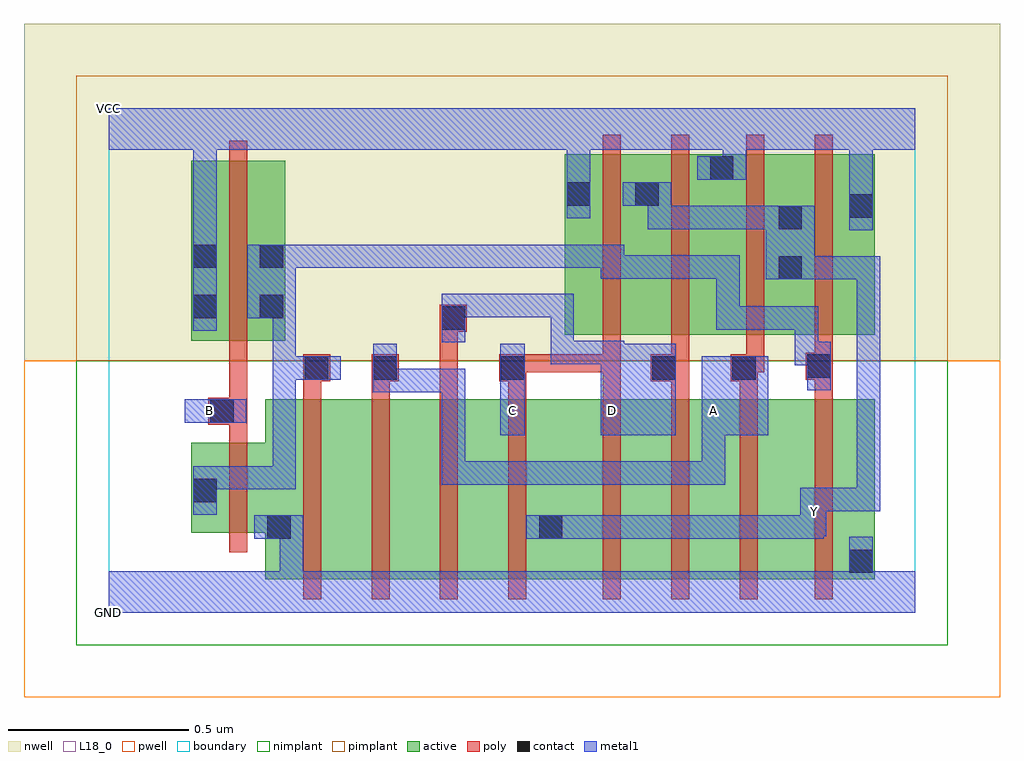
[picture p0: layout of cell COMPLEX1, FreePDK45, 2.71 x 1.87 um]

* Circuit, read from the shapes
.subckt COMPLEX1 A B C D GND VCC Y
M1 GND B n1 VSUBS nfet w=0.25u l=0.05u
M2 n2 n1 GND VSUBS nfet w=0.5u l=0.05u
M3 n3 A n2 VSUBS nfet w=0.5u l=0.05u
M4 n4 D n3 VSUBS nfet w=0.5u l=0.05u
M5 Y C n4 VSUBS nfet w=0.5u l=0.05u
M6 n5 C Y VSUBS nfet w=0.5u l=0.05u
M7 n6 D n5 VSUBS nfet w=0.5u l=0.05u
M8 n7 A n6 VSUBS nfet w=0.5u l=0.05u
M9 GND n1 n7 VSUBS nfet w=0.5u l=0.05u
M10 n1 B VCC n8 pfet w=0.5u l=0.05u
M11 Y C VCC n8 pfet w=0.5u l=0.05u
M12 VCC D Y n8 pfet w=0.5u l=0.05u
M13 Y A VCC n8 pfet w=0.5u l=0.05u
M14 VCC n1 Y n8 pfet w=0.5u l=0.05u
.ends

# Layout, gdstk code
import gdstk
lib = gdstk.Library(unit=1e-6, precision=1e-09)
def R(c, l, rs):  # rectangles x0, y0, x1, y1
    for r in rs: c.add(gdstk.rectangle(r[:2], r[2:], *l))
def A(c, l, x, y, w, h, nx, ny, dx, dy):  # array of equal rectangles
    R(c, l, [(x+i*dx, y+j*dy, x+i*dx+w, y+j*dy+h) for i in range(nx) for j in range(ny)])
active = (1, 0)
pwell = (2, 0)
nwell = (3, 0)
nimplant = (4, 0)
pimplant = (5, 0)
poly = (9, 0)
contact = (10, 0)
metal1 = (11, 0)
L18_0 = (18, 0)
boundary = (235, 0)

complex1 = lib.new_cell('COMPLEX1')
R(complex1, active, [(0.435,0.092,0.66,0.592), (0.66,0.092,0.85,0.592), (0.85,0.092,1.04,0.592), (1.04,0.092,1.265,0.592), (1.19,0.092,1.492,0.592), (1.492,0.092,1.682,0.592), (1.682,0.092,1.89,0.592), (1.89,0.092,2.127,0.592), (2.052,0.092,2.127,0.592), (1.19,0.145,1.265,0.592), (0.435,0.2,0.51,0.342), (0.23,0.222,0.51,0.472), (0.23,0.222,0.305,0.472), (0.23,0.755,0.305,1.255), (0.23,0.755,0.49,1.255), (0.415,0.755,0.49,1.2), (1.267,0.772,1.532,1.272), (1.457,0.772,1.74,1.272), (1.665,0.772,1.93,1.272), (1.855,0.772,2.127,1.272), (2.052,0.772,2.127,1.272), (1.267,0.807,1.342,1.255), (1.457,0.807,1.532,1.2), (1.665,0.807,1.74,1.272), (1.855,0.807,1.93,1.2)])
R(complex1, pwell, [(-0.235,-0.235,2.475,0.7)])
R(complex1, nwell, [(-0.235,0.7,2.475,1.635)])
R(complex1, nimplant, [(-0.09,-0.09,2.33,0.7)])
R(complex1, pimplant, [(-0.09,0.7,2.33,1.49)])
A(complex1, poly, 0.54, 0.037, 0.05, 0.61, 4, 1, 0.19, 0)
A(complex1, poly, 1.372, 0.037, 0.05, 0.61, 3, 1, 0.19, 0)
R(complex1, poly, [(1.96,0.037,2.01,0.647), (0.335,0.167,0.385,0.527), (0.335,0.477,0.385,0.572), (0.277,0.522,0.385,0.597), (0.335,0.547,0.385,0.597), (0.335,0.547,0.385,0.597), (0.335,0.547,0.385,0.75), (0.54,0.597,0.59,0.692), (0.73,0.597,0.78,0.692), (0.92,0.597,0.97,0.83), (1.11,0.597,1.16,0.692), (1.372,0.597,1.422,0.717), (1.562,0.597,1.612,0.692), (1.752,0.597,1.802,0.692), (1.96,0.597,2.01,0.697), (0.54,0.642,0.615,0.717), (0.73,0.642,0.805,0.717), (1.085,0.642,1.16,0.717), (1.505,0.642,1.612,0.717), (1.562,0.642,1.612,0.692), (1.562,0.642,1.612,0.692), (1.727,0.642,1.802,0.717), (1.935,0.647,2.01,0.722), (1.96,0.647,2.01,0.697), (1.96,0.647,2.01,0.697), (1.11,0.667,1.16,0.717), (1.11,0.667,1.16,0.717), (1.11,0.667,1.422,0.717), (1.372,0.667,1.422,0.717), (1.372,0.667,1.422,0.717), (1.372,0.667,1.422,0.717), (1.372,0.667,1.422,0.767), (1.562,0.667,1.612,0.767), (1.752,0.667,1.802,0.717), (1.752,0.667,1.82,0.717), (1.77,0.667,1.82,0.767), (1.96,0.672,2.01,0.767), (0.335,0.7,0.385,1.31), (1.372,0.717,1.422,1.327), (1.562,0.717,1.612,1.327), (1.77,0.717,1.82,1.327), (1.96,0.717,2.01,1.327), (0.92,0.78,0.97,0.83), (0.92,0.78,0.97,0.83), (0.92,0.78,0.995,0.855)])
R(complex1, contact, [(2.057,0.11,2.122,0.175), (0.44,0.205,0.505,0.27), (1.195,0.205,1.26,0.27), (0.235,0.307,0.3,0.372), (0.282,0.527,0.347,0.592), (0.545,0.647,0.61,0.712), (0.735,0.647,0.8,0.712), (1.09,0.647,1.155,0.712), (1.51,0.647,1.575,0.712), (1.732,0.647,1.797,0.712), (1.94,0.652,2.005,0.717), (0.925,0.785,0.99,0.85), (0.235,0.817,0.3,0.882), (0.42,0.817,0.485,0.882), (1.86,0.925,1.925,0.99), (0.235,0.957,0.3,1.022), (0.42,0.957,0.485,1.022), (1.86,1.065,1.925,1.13), (2.057,1.097,2.122,1.162), (1.272,1.13,1.337,1.195), (1.462,1.13,1.527,1.195), (1.67,1.202,1.735,1.267)])
R(complex1, metal1, [(0,0,2.24,0.115), (0.475,0.05,0.54,0.27), (2.057,0.05,2.122,0.14), (2.057,0.075,2.122,0.21), (0.405,0.205,0.54,0.27), (1.16,0.205,1.295,0.27), (1.23,0.205,1.295,0.27), (1.23,0.205,1.295,0.27), (1.23,0.205,1.432,0.27), (1.367,0.205,1.432,0.27), (1.367,0.205,1.432,0.27), (1.367,0.205,1.432,0.27), (1.367,0.205,1.432,0.27), (1.367,0.205,1.432,0.27), (1.367,0.205,1.752,0.27), (1.687,0.205,1.752,0.27), (1.687,0.205,1.752,0.27), (1.687,0.205,1.752,0.27), (1.687,0.205,1.985,0.27), (1.92,0.205,1.985,0.27), (1.92,0.205,1.985,0.277), (1.92,0.212,1.992,0.347), (0.235,0.272,0.3,0.407), (1.927,0.282,1.992,0.347), (1.927,0.282,1.992,0.347), (1.927,0.282,2.142,0.347), (2.077,0.282,2.142,0.99), (2.077,0.282,2.142,0.347), (2.077,0.282,2.142,0.347), (2.077,0.282,2.142,0.347), (0.235,0.342,0.3,0.407), (0.235,0.342,0.3,0.407), (0.235,0.342,0.52,0.407), (0.455,0.342,0.52,0.407), (0.455,0.342,0.52,0.712), (0.925,0.355,0.99,0.42), (0.925,0.355,1.127,0.42), (0.925,0.355,0.99,0.677), (1.062,0.355,1.127,0.42), (1.062,0.355,1.295,0.42), (1.23,0.355,1.295,0.42), (1.23,0.355,1.295,0.42), (1.23,0.355,1.295,0.42), (1.23,0.355,1.295,0.42), (1.23,0.355,1.295,0.42), (1.23,0.355,1.562,0.42), (1.497,0.355,1.562,0.42), (1.497,0.355,1.562,0.42), (1.497,0.355,1.562,0.42), (1.497,0.355,1.712,0.42), (1.647,0.355,1.712,0.557), (1.087,0.492,1.155,0.747), (1.367,0.492,1.575,0.747), (1.647,0.492,1.712,0.557), (1.647,0.492,1.832,0.712), (0.212,0.527,0.382,0.592), (0.735,0.612,0.8,0.747), (0.735,0.612,0.8,0.677), (0.735,0.612,0.8,0.677), (0.735,0.612,0.99,0.677), (0.925,0.612,0.99,0.677), (0.925,0.612,0.99,0.677), (0.925,0.612,0.99,0.677), (1.94,0.617,2.005,0.752), (0.455,0.647,0.52,0.712), (0.455,0.647,0.575,0.712), (0.455,0.647,0.52,0.882), (0.51,0.647,0.645,0.712), (1.367,0.682,1.432,0.747), (1.367,0.682,1.432,0.755), (1.905,0.687,2.005,0.752), (1.905,0.687,1.97,0.85), (1.227,0.69,1.432,0.755), (1.227,0.69,1.292,0.885), (0.925,0.75,0.99,0.885), (0.235,0.782,0.3,1.057), (1.687,0.785,1.752,0.85), (1.687,0.785,1.752,0.85), (1.687,0.785,1.752,0.85), (1.687,0.785,1.97,0.85), (1.687,0.785,1.752,0.992), (0.385,0.817,0.52,1.022), (0.455,0.817,0.52,0.882), (0.455,0.817,0.52,0.882), (0.925,0.82,0.99,0.885), (0.925,0.82,0.99,0.885), (0.925,0.82,1.127,0.885), (1.062,0.82,1.127,0.885), (1.062,0.82,1.292,0.885), (1.227,0.82,1.292,0.885), (1.227,0.82,1.292,0.885), (1.825,0.925,1.96,1.13), (1.895,0.925,1.985,0.99), (1.92,0.925,2.142,0.99), (1.92,0.925,1.985,0.99), (2.077,0.925,2.142,0.99), (1.367,0.927,1.432,0.992), (1.367,0.927,1.432,0.992), (1.367,0.927,1.752,0.992), (1.367,0.927,1.432,1.022), (1.687,0.927,1.752,0.992), (0.455,0.957,0.52,1.022), (0.455,0.957,0.52,1.022), (0.455,0.957,0.662,1.022), (0.597,0.957,0.662,1.022), (0.597,0.957,0.8,1.022), (0.735,0.957,0.8,1.022), (0.735,0.957,0.8,1.022), (0.735,0.957,0.8,1.022), (0.735,0.957,0.99,1.022), (0.925,0.957,0.99,1.022), (0.925,0.957,0.99,1.022), (0.925,0.957,0.99,1.022), (0.925,0.957,1.127,1.022), (1.062,0.957,1.127,1.022), (1.062,0.957,1.292,1.022), (1.227,0.957,1.292,1.022), (1.227,0.957,1.292,1.022), (1.227,0.957,1.292,1.022), (1.227,0.957,1.432,1.022), (0.235,0.992,0.3,1.35), (2.057,1.062,2.122,1.197), (1.497,1.065,1.712,1.13), (1.497,1.065,1.562,1.195), (1.647,1.065,1.712,1.13), (1.647,1.065,1.712,1.13), (1.647,1.065,1.712,1.13), (1.647,1.065,1.89,1.13), (1.825,1.065,1.89,1.13), (1.825,1.065,1.89,1.13), (1.272,1.095,1.337,1.23), (1.427,1.13,1.562,1.195), (1.497,1.13,1.562,1.195), (2.057,1.132,2.122,1.35), (1.272,1.165,1.337,1.35), (1.635,1.202,1.77,1.267), (1.705,1.202,1.77,1.35), (0,1.285,2.24,1.4)])
A(complex1, L18_0, 1.087, 0.527, 0.065, 0.065, 3, 1, 0.28, 0)
R(complex1, L18_0, [(0,0,2.24,0.115), (0.475,0.05,0.54,0.27), (2.057,0.05,2.122,0.14), (2.057,0.075,2.122,0.21), (0.405,0.205,0.54,0.27), (1.16,0.205,1.295,0.27), (1.23,0.205,1.295,0.27), (1.23,0.205,1.295,0.27), (1.23,0.205,1.432,0.27), (1.367,0.205,1.432,0.27), (1.367,0.205,1.432,0.27), (1.367,0.205,1.432,0.27), (1.367,0.205,1.432,0.27), (1.367,0.205,1.432,0.27), (1.367,0.205,1.752,0.27), (1.687,0.205,1.752,0.27), (1.687,0.205,1.752,0.27), (1.687,0.205,1.752,0.27), (1.687,0.205,1.985,0.27), (1.92,0.205,1.985,0.27), (1.92,0.205,1.985,0.277), (1.92,0.212,1.992,0.347), (1.927,0.247,1.992,0.312), (1.927,0.282,1.992,0.347), (1.927,0.282,1.992,0.347), (1.927,0.282,2.142,0.347), (2.077,0.282,2.142,0.347), (2.077,0.282,2.142,0.347), (2.077,0.282,2.142,0.347), (2.077,0.282,2.142,0.99), (0.925,0.355,0.99,0.42), (0.925,0.355,0.99,0.677), (0.925,0.355,1.127,0.42), (1.062,0.355,1.127,0.42), (1.062,0.355,1.295,0.42), (1.23,0.355,1.295,0.42), (1.23,0.355,1.295,0.42), (1.23,0.355,1.295,0.42), (1.23,0.355,1.295,0.42), (1.23,0.355,1.295,0.42), (1.23,0.355,1.562,0.42), (1.497,0.355,1.562,0.42), (1.497,0.355,1.562,0.42), (1.497,0.355,1.562,0.42), (1.497,0.355,1.712,0.42), (1.647,0.355,1.712,0.557), (1.087,0.492,1.155,0.747), (1.367,0.492,1.575,0.747), (1.647,0.492,1.712,0.557), (1.647,0.492,1.832,0.712), (0.212,0.527,0.382,0.592), (0.247,0.527,0.312,0.592), (0.735,0.612,0.8,0.747), (0.735,0.612,0.8,0.677), (0.735,0.612,0.8,0.677), (0.735,0.612,0.99,0.677), (0.925,0.612,0.99,0.677), (0.925,0.612,0.99,0.677), (0.925,0.612,0.99,0.677), (1.367,0.682,1.432,0.747), (1.367,0.682,1.432,0.755), (1.227,0.69,1.292,0.885), (1.227,0.69,1.432,0.755), (0.925,0.75,0.99,0.885), (0.235,0.782,0.3,1.057), (0.925,0.82,0.99,0.885), (0.925,0.82,0.99,0.885), (0.925,0.82,1.127,0.885), (1.062,0.82,1.127,0.885), (1.062,0.82,1.292,0.885), (1.227,0.82,1.292,0.885), (1.227,0.82,1.292,0.885), (1.825,0.925,1.96,1.13), (1.895,0.925,1.985,0.99), (1.92,0.925,1.985,0.99), (1.92,0.925,2.142,0.99), (2.077,0.925,2.142,0.99), (0.235,0.992,0.3,1.35), (2.057,1.062,2.122,1.197), (1.497,1.065,1.562,1.195), (1.497,1.065,1.712,1.13), (1.647,1.065,1.712,1.13), (1.647,1.065,1.712,1.13), (1.647,1.065,1.712,1.13), (1.647,1.065,1.89,1.13), (1.825,1.065,1.89,1.13), (1.825,1.065,1.89,1.13), (1.272,1.095,1.337,1.23), (1.427,1.13,1.562,1.195), (1.497,1.13,1.562,1.195), (2.057,1.132,2.122,1.35), (1.272,1.165,1.337,1.35), (1.635,1.202,1.77,1.267), (1.705,1.202,1.77,1.35), (0,1.285,2.24,1.4)])
R(complex1, boundary, [(0,0,2.24,1.4)])
complex1.add(gdstk.Label('A', (1.68,0.56), layer=11, texttype=0))
complex1.add(gdstk.Label('B', (0.28,0.56), layer=11, texttype=0))
complex1.add(gdstk.Label('C', (1.12,0.56), layer=11, texttype=0))
complex1.add(gdstk.Label('D', (1.4,0.56), layer=11, texttype=0))
complex1.add(gdstk.Label('Y', (1.96,0.28), layer=11, texttype=0))
complex1.add(gdstk.Label('VCC', (0,1.4), layer=11, texttype=0))
complex1.add(gdstk.Label('GND', (0,0), layer=11, texttype=0))

lib.write_gds('COMPLEX1.gds')
